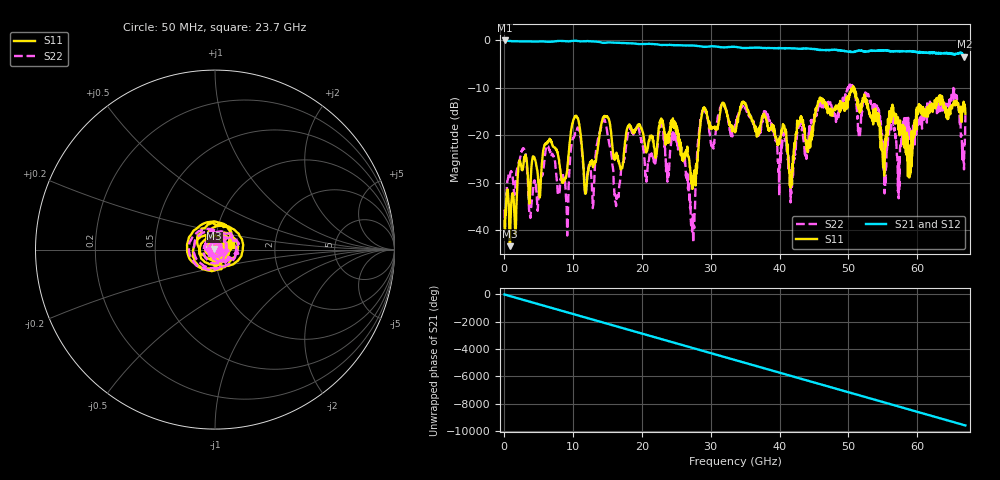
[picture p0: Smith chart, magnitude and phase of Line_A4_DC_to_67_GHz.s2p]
#  HZ  S  MA  R  50.00
! Rohde & Schwarz ZVA67 4Ports - Version 4.11 - 1305.7002k04 SN: 101051
! Date: 2023-05-31 14:06:06
! Measurements: S11 S21 S12 S22
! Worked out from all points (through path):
!   1340 points, 50 MHz to 67 GHz, reference 50 ohm
!   highest |S21| = -0.04 dB at 50 MHz (marker M1); lowest = -3.4 dB at 66.85 GHz (marker M2)
!   group delay of S21, straight-line fit = 398 ps
!   lowest |S11| = -43.3 dB at 850 MHz (marker M3), VSWR 1.01, Z = 49.5 + j0.499 ohm
!   |S11| at or under -10 dB: start of sweep to 50.6 GHz; 50.60044 GHz to 50.68221 GHz (81.78 MHz wide, 0.161 % of centre); 50.8 GHz to end of sweep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
!   |S22| runs from -42.6 to -9.3 dB; largest |S21 - S12| = 0.27
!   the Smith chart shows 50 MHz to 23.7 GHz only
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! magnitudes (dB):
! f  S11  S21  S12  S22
! 50 MHz  -38.0  0.0  0.0  -35.6
! 850 MHz  -43.3  -0.2  -0.2  -28.3
! 2.85 GHz  -25.4  -0.3  -0.3  -22.9
! 3.85 GHz  -29.1  -0.2  -0.2  -36.3
! 6.35 GHz  -21.5  -0.3  -0.3  -22.3
! 9.1 GHz  -27.8  -0.2  -0.2  -37.0
! 11.25 GHz  -22.3  -0.2  -0.2  -22.6
! 12.85 GHz  -26.0  -0.3  -0.3  -35.3
! 14.55 GHz  -16.0  -0.5  -0.5  -16.9
! 16.3 GHz  -23.7  -0.5  -0.5  -32.7
! 18.2 GHz  -17.7  -0.6  -0.6  -18.5
! 22.4 GHz  -19.0  -0.9  -0.9  -20.0
! 25.7 GHz  -22.4  -1.1  -1.1  -22.5
! 27.4 GHz  -31.2  -1.1  -1.1  -36.7
! 28.8 GHz  -14.9  -1.3  -1.3  -14.8
! 33.55 GHz  -19.4  -1.4  -1.4  -17.6
! 41.7 GHz  -28.5  -1.7  -1.7  -32.3
! 44.7 GHz  -19.0  -1.8  -1.8  -17.0
! 55.85 GHz  -16.9  -2.2  -2.2  -19.7
! 65.3 GHz  -12.9  -3.0  -3.0  -12.6
! 66.85 GHz  -13.4  -3.4  -3.4  -21.8
! 67 GHz  -15.5  -3.2  -3.1  -15.8
